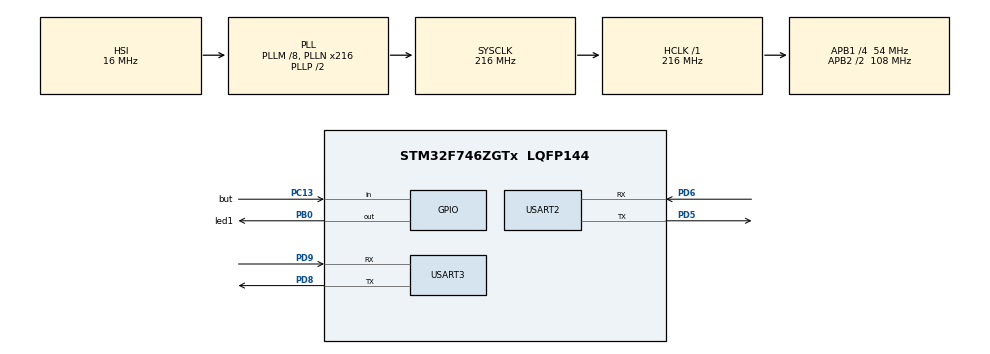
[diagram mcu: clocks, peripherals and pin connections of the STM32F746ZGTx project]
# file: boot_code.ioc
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CORTEX_M7.default_mode_Activation=1
CRC.InputDataFormat=CRC_INPUTDATA_FORMAT_WORDS
Mcu.Family=STM32F7
Mcu.Name=STM32F746ZGTx
Mcu.Package=LQFP144
NVIC.PriorityGroup=NVIC_PRIORITYGROUP_4
PB0.GPIO_Label=led1
PB0.GPIO_Speed=GPIO_SPEED_FREQ_VERY_HIGH
PB0.PinState=GPIO_PIN_SET
PB0.Signal=GPIO_Output
PC13.GPIO_Label=but
PC13.Signal=GPIO_Input
PD5.Mode=Asynchronous
PD5.Signal=USART2_TX
PD6.Mode=Asynchronous
PD6.Signal=USART2_RX
PD8.Mode=Asynchronous
PD8.Signal=USART3_TX
PD9.Mode=Asynchronous
PD9.Signal=USART3_RX
ProjectManager.HeapSize=0x200
ProjectManager.StackSize=0x400
ProjectManager.TargetToolchain=MDK-ARM V5.32
RCC.AHBFreq_Value=216000000
RCC.APB1CLKDivider=RCC_HCLK_DIV4
RCC.APB1Freq_Value=54000000
RCC.APB1TimFreq_Value=108000000
RCC.APB2CLKDivider=RCC_HCLK_DIV2
RCC.APB2Freq_Value=108000000
RCC.APB2TimFreq_Value=216000000
RCC.CortexFreq_Value=216000000
RCC.HCLKFreq_Value=216000000
RCC.HSE_VALUE=25000000
RCC.HSI_VALUE=16000000
RCC.LSE_VALUE=32768
RCC.PLLM=8
RCC.PLLN=216
RCC.SYSCLKFreq_VALUE=216000000
RCC.SYSCLKSource=RCC_SYSCLKSOURCE_PLLCLK
RCC.USBFreq_Value=216000000
RCC.VCOOutputFreq_Value=432000000
USART2.VirtualMode-Asynchronous=VM_ASYNC
USART3.VirtualMode-Asynchronous=VM_ASYNC
VP_CRC_VS_CRC.Mode=CRC_Activate
board=custom

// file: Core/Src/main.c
/* USER CODE BEGIN Header */
/**
  ******************************************************************************
  * @file           : main.c
  * @brief          : Main program body
  ******************************************************************************
  * @attention
  *
  * Copyright (c) 2022 STMicroelectronics.
  * All rights reserved.
  *
  * This software is licensed under terms that can be found in the LICENSE file
  * in the root directory of this software component.
  * If no LICENSE file comes with this software, it is provided AS-IS.
  *
  ******************************************************************************
  */
/* USER CODE END Header */
#include "main.h"

/* USER CODE BEGIN Includes */
#include<stdarg.h>
#include<string.h>
#include "boot.h"
#include<stdio.h>
/* USER CODE END Includes */

/* USER CODE BEGIN PD */
#define DEBUG_EN
#define FLASH_SECTOR2_BASE_ADDRESS 0x08010000u
#define VEC_OFFSET 0x10000
/* USER CODE END PD */

CRC_HandleTypeDef hcrc;

UART_HandleTypeDef huart2;
UART_HandleTypeDef huart3;

void SystemClock_Config(void);
static void MPU_Config(void);
static void MX_GPIO_Init(void);
static void MX_USART3_UART_Init(void);
static void MX_USART2_UART_Init(void);
static void MX_CRC_Init(void);

/* USER CODE BEGIN 0 */
void st_printf(char *format,...){
	#ifdef DEBUG_EN
		char str[80];

		va_list args;
		va_start(args, format);
		strcat(format, "\r\n");
		sprintf(str, format ,args);
		HAL_UART_Transmit(&huart3 , (uint8_t*)str , strlen(str), HAL_MAX_DELAY);
		va_end(args);
	#endif
}

void st_scanf( uint8_t *Buf, uint8_t len){
		HAL_UART_Receive( &huart3, Buf , len , HAL_MAX_DELAY);
}

/*void jump_user_app(){
	//pointerr to the app reset handler
	void (*app_reset_handler)(void);

	st_printf("Jumping to user app\r\n" , FLASH_SECTOR_2);
	// set the MSP value
	uint32_t MSP_val= *(volatile uint32_t *) FLASH_SECTOR2_BASE_ADDRESS;
	__set_MSP(MSP_val);
	SCB->VTOR = FLASHAXI_BASE | VEC_OFFSET;
	// Jump to the reset handler
	uint32_t app_reset_handler_address= *(volatile uint32_t *) (FLASH_SECTOR2_BASE_ADDRESS+4);
	app_reset_handler = (void*) app_reset_handler_address;
	app_reset_handler();
}*/
/* USER CODE END 0 */

int main(void)
{

  /* MPU Configuration--------------------------------------------------------*/
  MPU_Config();

  /* MCU Configuration--------------------------------------------------------*/

  /* Reset of all peripherals, Initializes the Flash interface and the Systick. */
  HAL_Init();

  /* Configure the system clock */
  SystemClock_Config();

  /* Initialize all configured peripherals */
  MX_GPIO_Init();
  MX_USART3_UART_Init();
  MX_USART2_UART_Init();
  MX_CRC_Init();
  /* USER CODE BEGIN 2 */

		bootloader_init();
  /* USER CODE END 2 */

  /* Infinite loop */
  while (1)
  {
		st_printf("in the Boot main code");

  }
}

void SystemClock_Config(void)
{
  RCC_OscInitTypeDef RCC_OscInitStruct = {0};
  RCC_ClkInitTypeDef RCC_ClkInitStruct = {0};

  /** Configure the main internal regulator output voltage
  */
  __HAL_RCC_PWR_CLK_ENABLE();
  __HAL_PWR_VOLTAGESCALING_CONFIG(PWR_REGULATOR_VOLTAGE_SCALE1);

  /** Initializes the RCC Oscillators according to the specified parameters
  * in the RCC_OscInitTypeDef structure.
  */
  RCC_OscInitStruct.OscillatorType = RCC_OSCILLATORTYPE_HSI;
  RCC_OscInitStruct.HSIState = RCC_HSI_ON;
  RCC_OscInitStruct.HSICalibrationValue = RCC_HSICALIBRATION_DEFAULT;
  RCC_OscInitStruct.PLL.PLLState = RCC_PLL_ON;
  RCC_OscInitStruct.PLL.PLLSource = RCC_PLLSOURCE_HSI;
  RCC_OscInitStruct.PLL.PLLM = 8;
  RCC_OscInitStruct.PLL.PLLN = 216;
  RCC_OscInitStruct.PLL.PLLP = RCC_PLLP_DIV2;
  RCC_OscInitStruct.PLL.PLLQ = 2;
  if (HAL_RCC_OscConfig(&RCC_OscInitStruct) != HAL_OK)
  {
    Error_Handler();
  }

  /** Activate the Over-Drive mode
  */
  if (HAL_PWREx_EnableOverDrive() != HAL_OK)
  {
    Error_Handler();
  }

  /** Initializes the CPU, AHB and APB buses clocks
  */
  RCC_ClkInitStruct.ClockType = RCC_CLOCKTYPE_HCLK|RCC_CLOCKTYPE_SYSCLK
                              |RCC_CLOCKTYPE_PCLK1|RCC_CLOCKTYPE_PCLK2;
  RCC_ClkInitStruct.SYSCLKSource = RCC_SYSCLKSOURCE_PLLCLK;
  RCC_ClkInitStruct.AHBCLKDivider = RCC_SYSCLK_DIV1;
  RCC_ClkInitStruct.APB1CLKDivider = RCC_HCLK_DIV4;
  RCC_ClkInitStruct.APB2CLKDivider = RCC_HCLK_DIV2;

  if (HAL_RCC_ClockConfig(&RCC_ClkInitStruct, FLASH_LATENCY_7) != HAL_OK)
  {
    Error_Handler();
  }
}

static void MX_CRC_Init(void)
{

  hcrc.Instance = CRC;
  hcrc.Init.DefaultPolynomialUse = DEFAULT_POLYNOMIAL_ENABLE;
  hcrc.Init.DefaultInitValueUse = DEFAULT_INIT_VALUE_ENABLE;
  hcrc.Init.InputDataInversionMode = CRC_INPUTDATA_INVERSION_NONE;
  hcrc.Init.OutputDataInversionMode = CRC_OUTPUTDATA_INVERSION_DISABLE;
  hcrc.InputDataFormat = CRC_INPUTDATA_FORMAT_WORDS;
  if (HAL_CRC_Init(&hcrc) != HAL_OK)
  {
    Error_Handler();
  }

}

static void MX_USART2_UART_Init(void)
{

  huart2.Instance = USART2;
  huart2.Init.BaudRate = 115200;
  huart2.Init.WordLength = UART_WORDLENGTH_8B;
  huart2.Init.StopBits = UART_STOPBITS_1;
  huart2.Init.Parity = UART_PARITY_NONE;
  huart2.Init.Mode = UART_MODE_TX_RX;
  huart2.Init.HwFlowCtl = UART_HWCONTROL_NONE;
  huart2.Init.OverSampling = UART_OVERSAMPLING_16;
  huart2.Init.OneBitSampling = UART_ONE_BIT_SAMPLE_DISABLE;
  huart2.AdvancedInit.AdvFeatureInit = UART_ADVFEATURE_NO_INIT;
  if (HAL_UART_Init(&huart2) != HAL_OK)
  {
    Error_Handler();
  }

}

static void MX_USART3_UART_Init(void)
{

  huart3.Instance = USART3;
  huart3.Init.BaudRate = 115200;
  huart3.Init.WordLength = UART_WORDLENGTH_8B;
  huart3.Init.StopBits = UART_STOPBITS_1;
  huart3.Init.Parity = UART_PARITY_NONE;
  huart3.Init.Mode = UART_MODE_TX_RX;
  huart3.Init.HwFlowCtl = UART_HWCONTROL_NONE;
  huart3.Init.OverSampling = UART_OVERSAMPLING_16;
  huart3.Init.OneBitSampling = UART_ONE_BIT_SAMPLE_DISABLE;
  huart3.AdvancedInit.AdvFeatureInit = UART_ADVFEATURE_NO_INIT;
  if (HAL_UART_Init(&huart3) != HAL_OK)
  {
    Error_Handler();
  }

}

static void MX_GPIO_Init(void)
{
  GPIO_InitTypeDef GPIO_InitStruct = {0};

  /* GPIO Ports Clock Enable */
  __HAL_RCC_GPIOC_CLK_ENABLE();
  __HAL_RCC_GPIOB_CLK_ENABLE();
  __HAL_RCC_GPIOD_CLK_ENABLE();

  /*Configure GPIO pin Output Level */
  HAL_GPIO_WritePin(led1_GPIO_Port, led1_Pin, GPIO_PIN_SET);

  /*Configure GPIO pin : but_Pin */
  GPIO_InitStruct.Pin = but_Pin;
  GPIO_InitStruct.Mode = GPIO_MODE_INPUT;
  GPIO_InitStruct.Pull = GPIO_NOPULL;
  HAL_GPIO_Init(but_GPIO_Port, &GPIO_InitStruct);

  /*Configure GPIO pin : led1_Pin */
  GPIO_InitStruct.Pin = led1_Pin;
  GPIO_InitStruct.Mode = GPIO_MODE_OUTPUT_PP;
  GPIO_InitStruct.Pull = GPIO_NOPULL;
  GPIO_InitStruct.Speed = GPIO_SPEED_FREQ_VERY_HIGH;
  HAL_GPIO_Init(led1_GPIO_Port, &GPIO_InitStruct);

}

/* MPU Configuration */

void MPU_Config(void)
{
  MPU_Region_InitTypeDef MPU_InitStruct = {0};

  /* Disables the MPU */
  HAL_MPU_Disable();

  /** Initializes and configures the Region and the memory to be protected
  */
  MPU_InitStruct.Enable = MPU_REGION_ENABLE;
  MPU_InitStruct.Number = MPU_REGION_NUMBER0;
  MPU_InitStruct.BaseAddress = 0x0;
  MPU_InitStruct.Size = MPU_REGION_SIZE_4GB;
  MPU_InitStruct.SubRegionDisable = 0x87;
  MPU_InitStruct.TypeExtField = MPU_TEX_LEVEL0;
  MPU_InitStruct.AccessPermission = MPU_REGION_NO_ACCESS;
  MPU_InitStruct.DisableExec = MPU_INSTRUCTION_ACCESS_DISABLE;
  MPU_InitStruct.IsShareable = MPU_ACCESS_SHAREABLE;
  MPU_InitStruct.IsCacheable = MPU_ACCESS_NOT_CACHEABLE;
  MPU_InitStruct.IsBufferable = MPU_ACCESS_NOT_BUFFERABLE;

  HAL_MPU_ConfigRegion(&MPU_InitStruct);
  /* Enables the MPU */
  HAL_MPU_Enable(MPU_PRIVILEGED_DEFAULT);

}

void Error_Handler(void)
{
  __disable_irq();
  while (1)
  {
  }
}
